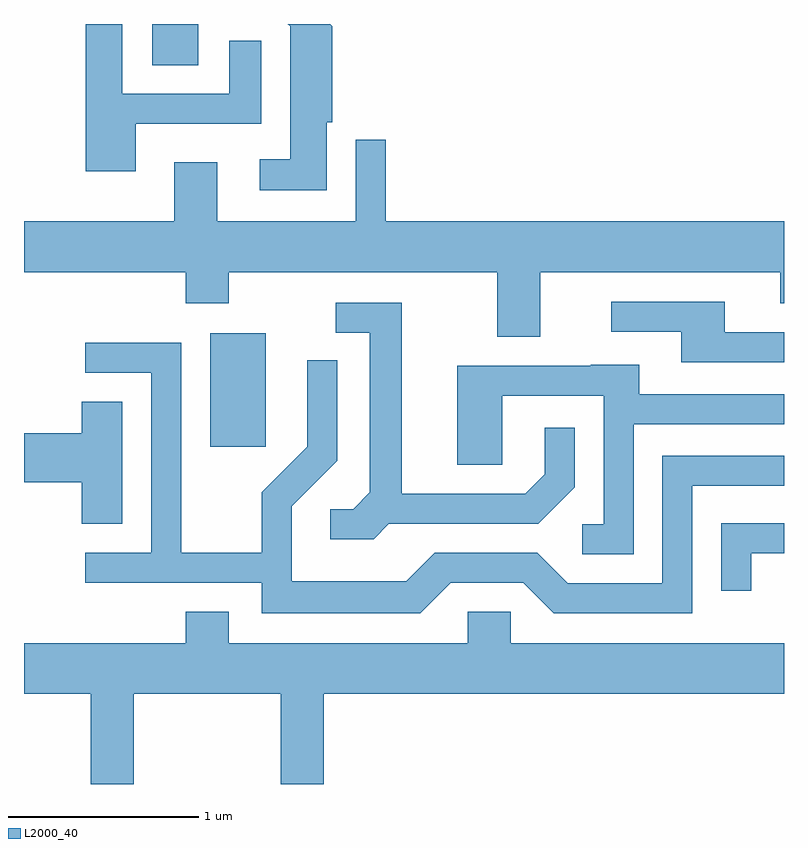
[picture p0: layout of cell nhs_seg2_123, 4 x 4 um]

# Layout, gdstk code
import gdstk
lib = gdstk.Library(unit=1e-6, precision=1e-09)
def R(c, l, rs):  # rectangles x0, y0, x1, y1
    for r in rs: c.add(gdstk.rectangle(r[:2], r[2:], *l))
def P(c, l, *ps):  # polygons
    for p in ps: c.add(gdstk.Polygon(p, *l))
L2000_40 = (2000, 40)

nhs_seg2_123 = lib.new_cell('nhs_seg2_123')
R(nhs_seg2_123, L2000_40, [(188.591,1089.576,188.884,1090.174), (188.286,1091.586,188.529,1091.802)])
P(nhs_seg2_123, L2000_40, [(188.199,1091.276),(188.859,1091.276),(188.859,1091.713),(188.691,1091.713),(188.691,1091.434),(188.129,1091.434),(188.129,1091.802),(187.936,1091.802),(187.936,1091.026),(188.199,1091.026)],
  [(189.204,1091.286),(189.234,1091.286),(189.234,1091.791),(189.224,1091.801),(189.224,1091.802),(188.998,1091.802),(189.011,1091.789),(189.011,1091.089),(188.853,1091.089),(188.853,1090.926),(189.204,1090.926)],
  [(190.329,1090.496),(191.591,1090.496),(191.591,1090.331),(191.611,1090.331),(191.611,1090.764),(189.514,1090.764),(189.514,1091.193),(189.356,1091.193),(189.356,1090.764),(188.629,1090.764),(188.629,1091.074),(188.401,1091.074),(188.401,1090.764),(187.611,1090.764),(187.611,1090.496),(188.461,1090.496),(188.461,1090.331),(188.689,1090.331),(188.689,1090.496),(190.101,1090.496),(190.101,1090.156),(190.329,1090.156)],
  [(191.611,1090.179),(191.299,1090.179),(191.299,1090.339),(190.703,1090.339),(190.703,1090.181),(191.071,1090.181),(191.071,1090.021),(191.611,1090.021)],
  [(189.532,1089.171),(190.317,1089.171),(190.509,1089.364),(190.509,1089.678),(190.351,1089.678),(190.351,1089.432),(190.249,1089.329),(189.599,1089.329),(189.599,1090.334),(189.253,1090.334),(189.253,1090.176),(189.431,1090.176),(189.431,1089.337),(189.344,1089.249),(189.223,1089.249),(189.223,1089.091),(189.452,1089.091)],
  [(189.857,1088.861),(190.239,1088.861),(190.399,1088.701),(191.129,1088.701),(191.129,1089.371),(191.611,1089.371),(191.611,1089.529),(190.971,1089.529),(190.971,1088.859),(190.472,1088.859),(190.312,1089.019),(189.774,1089.019),(189.624,1088.869),(189.019,1088.869),(189.019,1089.264),(189.259,1089.504),(189.259,1090.033),(189.101,1090.033),(189.101,1089.577),(188.861,1089.337),(188.861,1089.019),(188.439,1089.019),(188.439,1090.124),(187.933,1090.124),(187.933,1089.966),(188.281,1089.966),(188.281,1089.019),(187.933,1089.019),(187.933,1088.861),(188.861,1088.861),(188.861,1088.701),(189.697,1088.701)],
  [(190.819,1089.696),(191.611,1089.696),(191.611,1089.854),(190.849,1089.854),(190.849,1090.009),(190.595,1090.009),(190.595,1090.004),(189.891,1090.004),(189.891,1089.481),(190.129,1089.481),(190.129,1089.846),(190.661,1089.846),(190.661,1089.169),(190.548,1089.169),(190.548,1089.011),(190.819,1089.011)],
  [(188.129,1089.814),(187.916,1089.814),(187.916,1089.649),(187.611,1089.649),(187.611,1089.391),(187.916,1089.391),(187.916,1089.171),(188.129,1089.171)],
  [(191.439,1089.016),(191.611,1089.016),(191.611,1089.174),(191.281,1089.174),(191.281,1088.818),(191.439,1088.818)],
  [(188.189,1088.276),(188.961,1088.276),(188.961,1087.802),(189.189,1087.802),(189.189,1088.276),(191.611,1088.276),(191.611,1088.544),(190.174,1088.544),(190.174,1088.709),(189.946,1088.709),(189.946,1088.544),(188.689,1088.544),(188.689,1088.709),(188.461,1088.709),(188.461,1088.544),(187.611,1088.544),(187.611,1088.276),(187.961,1088.276),(187.961,1087.802),(188.189,1087.802)])

lib.write_gds('nhs_seg2_123.gds')
